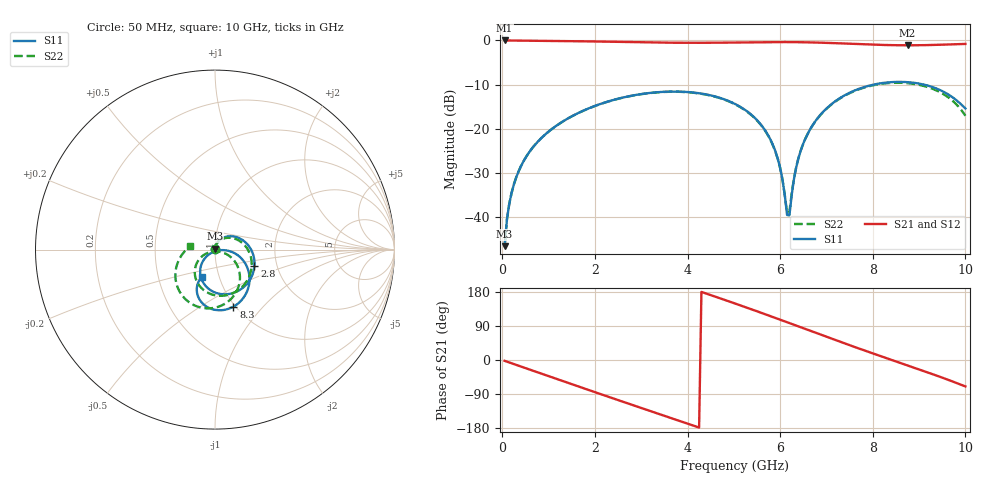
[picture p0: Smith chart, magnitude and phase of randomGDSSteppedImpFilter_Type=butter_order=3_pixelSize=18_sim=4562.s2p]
! freq	dB(S11)	phase(S11)	dB(S12)	phase(S12)
!  dB(S21)	phase(S21)	dB(S22)	phase(S22)
!S-par simulation data
#  GHz  S  DB  R 50
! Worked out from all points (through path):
!   200 points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, 50 MHz to 10 GHz, reference 50 ohm
!   highest |S21| = 0.00 dB at 50 MHz (marker M1); lowest = -1.1 dB at 8.75 GHz (marker M2)
!   group delay of S21, straight-line fit = 119 ps
!   lowest |S11| = -46.6 dB at 50 MHz (marker M3), VSWR 1.01, Z = 50 + j0.469 ohm
!   |S11| at or under -10 dB: start of sweep to 8.017 GHz; 9.106 GHz to end of sweep
!   |S22| runs from -46.6 to -9.6 dB; largest |S21 - S12| = 0
!   S11 on the Smith chart (normalised r, x): 50 MHz: 1.00, +0.01; 2.8 GHz: 1.53, -0.29; 8.3 GHz: 0.98, -0.70; 10 GHz: 0.83, -0.26
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0.05  -46.56 87.0  -0.00 -2.2  -0.00 -2.2  -46.56 86.8
0.1  -40.54 85.5  -0.01 -4.3  -0.01 -4.3  -40.55 84.9
0.2  -34.53 81.7  -0.02 -8.6  -0.02 -8.6  -34.53 80.6
0.5  -26.59 69.7  -0.04 -21.4  -0.04 -21.4  -26.60 67.1
1.75  -15.89 20.0  -0.19 -74.3  -0.19 -74.3  -15.91 11.9
2.8  -12.49 -22.2  -0.39 -118.3  -0.39 -118.3  -12.52 -33.3
3.4  -11.68 -46.2  -0.49 -143.1  -0.49 -143.1  -11.72 -58.4
4.25  -11.95 -80.1  -0.53 -178.3  -0.53 -178.3  -12.00 -93.3
5.05  -14.50 -112.0  -0.46 148.1  -0.46 148.1  -14.56 -126.1
5.8  -22.65 -139.4  -0.38 115.3  -0.38 115.3  -22.74 -153.8
6  -28.82 -140.5  -0.37 106.4  -0.37 106.4  -28.91 -154.2
6.15  -39.52 -100.0  -0.37 99.6  -0.37 99.6  -39.01 -111.4
6.2  -39.58 -44.8  -0.38 97.4  -0.38 97.4  -38.77 -61.1
6.3  -31.27 -7.6  -0.38 92.9  -0.38 92.9  -31.09 -25.2
6.4  -26.47 -3.5  -0.40 88.3  -0.40 88.3  -26.42 -20.7
6.7  -19.20 -10.2  -0.45 74.7  -0.45 74.7  -19.24 -27.3
7.5  -11.84 -41.3  -0.75 39.0  -0.75 39.0  -11.93 -60.1
8.3  -9.53 -72.1  -1.04 4.8  -1.04 4.8  -9.68 -94.4
8.35  -9.48 -73.9  -1.05 2.7  -1.05 2.7  -9.64 -96.5
8.75  -9.44 -88.3  -1.10 -14.2  -1.10 -14.2  -9.67 -114.1
9.5  -11.47 -111.6  -0.96 -46.5  -0.96 -46.5  -11.99 -150.9
10  -15.40 -115.8  -0.79 -69.7  -0.79 -69.7  -17.04 172.9
